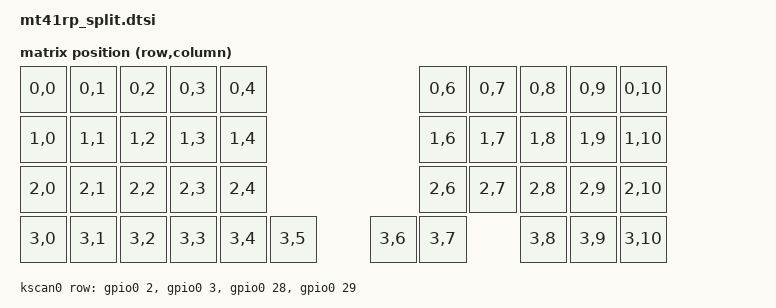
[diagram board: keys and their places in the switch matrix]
#include <dt-bindings/zmk/matrix_transform.h>
#include <physical_layouts.dtsi>

/*
 * mt-41rp split（https://github.com/os55010-org/mt-41rp-split）
 *
 * マトリクスは左右とも COL2ROW。XIAO のピンは左右共通で
 *   row1-4 = D0-D3, col1-5 = D6-D10
 * 左手だけ col6 = D4（MCU 列最下段の親指キー）。
 * 右手は col-offset 6 で、全体を 4行 × 11列のマトリクスとして扱う。
 *
 * キーの並び（keymap の位置番号）
 *   0  1  2  3  4      5  6  7  8  9
 *  10 11 12 13 14     15 16 17 18 19
 *  20 21 22 23 24     25 26 27 28 29
 *  30 31 32 33 34 35 36 37 (TB) 38 39 40
 *  35 = 左の親指（MCU 列）、36 = 右の親指（MCU 列）、TB = トラックボール
 */

/ {
    chosen {
        zmk,kscan = &kscan0;
        zmk,physical-layout = &mt41rp_physical_layout;
    };

    default_transform: keymap_transform_0 {
        compatible = "zmk,matrix-transform";
        columns = <11>;
        rows = <4>;
        map = <
            RC(0,0) RC(0,1) RC(0,2) RC(0,3) RC(0,4)                 RC(0,6) RC(0,7) RC(0,8) RC(0,9) RC(0,10)
            RC(1,0) RC(1,1) RC(1,2) RC(1,3) RC(1,4)                 RC(1,6) RC(1,7) RC(1,8) RC(1,9) RC(1,10)
            RC(2,0) RC(2,1) RC(2,2) RC(2,3) RC(2,4)                 RC(2,6) RC(2,7) RC(2,8) RC(2,9) RC(2,10)
            RC(3,0) RC(3,1) RC(3,2) RC(3,3) RC(3,4) RC(3,5) RC(3,6) RC(3,7)         RC(3,8) RC(3,9) RC(3,10)
        >;
    };

    mt41rp_physical_layout: mt41rp_physical_layout {
        compatible = "zmk,physical-layout";
        display-name = "Default";
        transform = <&default_transform>;
        kscan = <&kscan0>;

        keys  //                     w   h    x    y  rot rx ry
            = <&key_physical_attrs 100 100    0    0 0 0 0>,
            <&key_physical_attrs 100 100  100    0 0 0 0>,
            <&key_physical_attrs 100 100  200    0 0 0 0>,
            <&key_physical_attrs 100 100  300    0 0 0 0>,
            <&key_physical_attrs 100 100  400    0 0 0 0>,
            <&key_physical_attrs 100 100  800    0 0 0 0>,
            <&key_physical_attrs 100 100  900    0 0 0 0>,
            <&key_physical_attrs 100 100 1000    0 0 0 0>,
            <&key_physical_attrs 100 100 1100    0 0 0 0>,
            <&key_physical_attrs 100 100 1200    0 0 0 0>,
            <&key_physical_attrs 100 100    0  100 0 0 0>,
            <&key_physical_attrs 100 100  100  100 0 0 0>,
            <&key_physical_attrs 100 100  200  100 0 0 0>,
            <&key_physical_attrs 100 100  300  100 0 0 0>,
            <&key_physical_attrs 100 100  400  100 0 0 0>,
            <&key_physical_attrs 100 100  800  100 0 0 0>,
            <&key_physical_attrs 100 100  900  100 0 0 0>,
            <&key_physical_attrs 100 100 1000  100 0 0 0>,
            <&key_physical_attrs 100 100 1100  100 0 0 0>,
            <&key_physical_attrs 100 100 1200  100 0 0 0>,
            <&key_physical_attrs 100 100    0  200 0 0 0>,
            <&key_physical_attrs 100 100  100  200 0 0 0>,
            <&key_physical_attrs 100 100  200  200 0 0 0>,
            <&key_physical_attrs 100 100  300  200 0 0 0>,
            <&key_physical_attrs 100 100  400  200 0 0 0>,
            <&key_physical_attrs 100 100  800  200 0 0 0>,
            <&key_physical_attrs 100 100  900  200 0 0 0>,
            <&key_physical_attrs 100 100 1000  200 0 0 0>,
            <&key_physical_attrs 100 100 1100  200 0 0 0>,
            <&key_physical_attrs 100 100 1200  200 0 0 0>,
            <&key_physical_attrs 100 100    0  300 0 0 0>,
            <&key_physical_attrs 100 100  100  300 0 0 0>,
            <&key_physical_attrs 100 100  200  300 0 0 0>,
            <&key_physical_attrs 100 100  300  300 0 0 0>,
            <&key_physical_attrs 100 100  400  300 0 0 0>,
            <&key_physical_attrs 100 100  500  300 0 0 0>,
            <&key_physical_attrs 100 100  700  300 0 0 0>,
            <&key_physical_attrs 100 100  800  300 0 0 0>,
            <&key_physical_attrs 100 100 1000  300 0 0 0>,
            <&key_physical_attrs 100 100 1100  300 0 0 0>,
            <&key_physical_attrs 100 100 1200  300 0 0 0>
            ;
    };

    kscan0: kscan {
        compatible = "zmk,kscan-gpio-matrix";
        diode-direction = "col2row";

        row-gpios
            = <&gpio0 2  (GPIO_ACTIVE_HIGH | GPIO_PULL_DOWN)>  // D0 row1
            , <&gpio0 3  (GPIO_ACTIVE_HIGH | GPIO_PULL_DOWN)>  // D1 row2
            , <&gpio0 28 (GPIO_ACTIVE_HIGH | GPIO_PULL_DOWN)>  // D2 row3
            , <&gpio0 29 (GPIO_ACTIVE_HIGH | GPIO_PULL_DOWN)>  // D3 row4
            ;
    };
};

// D6 / D7（UART）を col に使うため無効化
&xiao_serial { status = "disabled"; };
